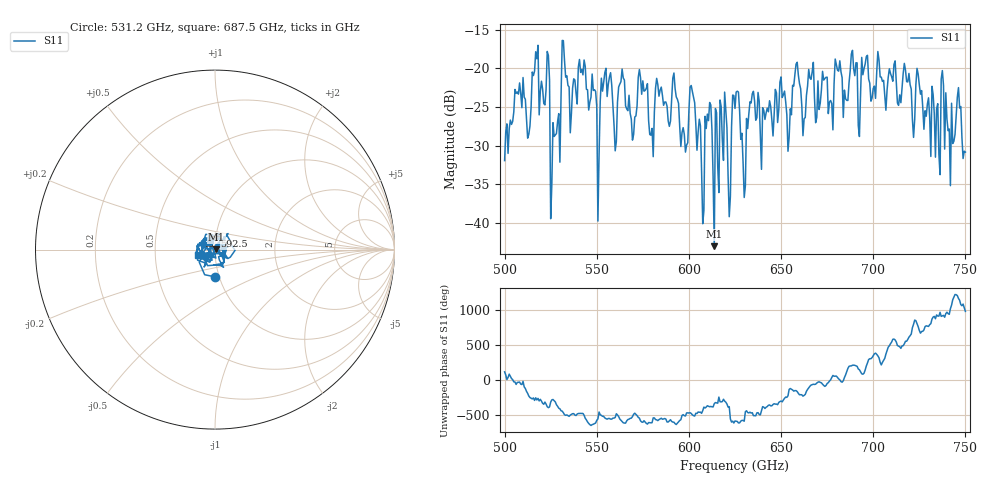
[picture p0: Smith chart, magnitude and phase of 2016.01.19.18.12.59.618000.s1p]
!Created with skrf (http://scikit-rf.org).
# GHz S RI R 50.0
!freq ReS11 ImS11
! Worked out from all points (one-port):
!   401 points, 500 GHz to 750 GHz, reference 50 ohm
!   lowest |S11| = -43.0 dB at 613.8 GHz (marker M1), VSWR 1.01, Z = 50.7 + j0.21 ohm
!   |S11| at or under -10 dB: start of sweep to end of sweep
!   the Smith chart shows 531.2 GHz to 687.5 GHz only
!   S11 on the Smith chart (normalised r, x): 531.2 GHz: 0.96, -0.30; 592.5 GHz: 0.99, +0.15; 687.5 GHz: 0.83, -0.05
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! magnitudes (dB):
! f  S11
! 500 GHz  -31.9
! 506.9 GHz  -23.0
! 513.1 GHz  -28.5
! 516.9 GHz  -17.8
! 523.1 GHz  -17.8
! 526.2 GHz  -27.0
! 531.2 GHz  -16.4
! 542.5 GHz  -20.8
! 550.6 GHz  -39.8
! 553.8 GHz  -21.8
! 560 GHz  -30.7
! 562.5 GHz  -22.0
! 576.2 GHz  -22.8
! 579.4 GHz  -28.6
! 592.5 GHz  -22.6
! 593.8 GHz  -24.0
! 613.8 GHz  -43.0
! 618.1 GHz  -29.2
! 621.9 GHz  -39.2
! 625 GHz  -25.2
! 629.4 GHz  -32.1
! 634.4 GHz  -23.3
! 656.2 GHz  -22.2
! 687.5 GHz  -20.3
! 718.8 GHz  -21.7
! 735 GHz  -24.6
! 746.2 GHz  -22.5
! 750 GHz  -30.8
